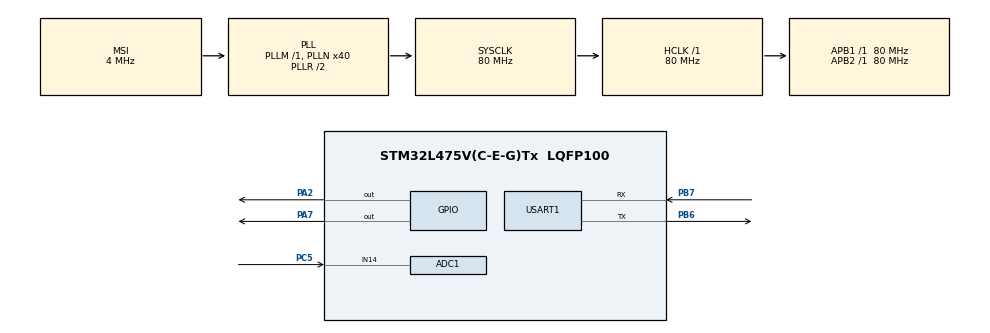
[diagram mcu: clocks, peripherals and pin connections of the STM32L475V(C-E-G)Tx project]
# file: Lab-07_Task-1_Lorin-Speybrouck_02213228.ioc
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ADC1.Channel-0\#ChannelRegularConversion=ADC_CHANNEL_14
ADC1.NbrOfConversionFlag=1
ADC1.OffsetNumber-0\#ChannelRegularConversion=ADC_OFFSET_NONE
ADC1.Rank-0\#ChannelRegularConversion=1
ADC1.SamplingTime-0\#ChannelRegularConversion=ADC_SAMPLETIME_2CYCLES_5
ADC1.master=1
Mcu.Family=STM32L4
Mcu.Name=STM32L475V(C-E-G)Tx
Mcu.Package=LQFP100
NVIC.LPTIM2_IRQn=true\:0\:0\:false\:false\:true\:true\:true\:true
NVIC.PriorityGroup=NVIC_PRIORITYGROUP_4
PA2.Signal=GPIO_Output
PA7.Signal=GPIO_Output
PB6.Mode=Asynchronous
PB6.Signal=USART1_TX
PB7.Mode=Asynchronous
PB7.Signal=USART1_RX
PC14-OSC32_IN\ (PC14).Mode=LSE-External-Oscillator
PC14-OSC32_IN\ (PC14).Signal=RCC_OSC32_IN
PC15-OSC32_OUT\ (PC15).Mode=LSE-External-Oscillator
PC15-OSC32_OUT\ (PC15).Signal=RCC_OSC32_OUT
PC5.Signal=ADCx_IN14
ProjectManager.HeapSize=0x200
ProjectManager.StackSize=0x400
ProjectManager.TargetToolchain=STM32CubeIDE
RCC.ADCFreq_Value=48000000
RCC.AHBFreq_Value=80000000
RCC.APB1Freq_Value=80000000
RCC.APB1TimFreq_Value=80000000
RCC.APB2Freq_Value=80000000
RCC.APB2TimFreq_Value=80000000
RCC.CortexFreq_Value=80000000
RCC.HCLKFreq_Value=80000000
RCC.HSE_VALUE=8000000
RCC.HSI_VALUE=16000000
RCC.LPTIM2CLockSelection=RCC_LPTIM2CLKSOURCE_LSE
RCC.MSI_VALUE=4000000
RCC.PLLN=40
RCC.PLLSAI1N=24
RCC.SYSCLKFreq_VALUE=80000000
RCC.SYSCLKSource=RCC_SYSCLKSOURCE_PLLCLK
RCC.USBFreq_Value=48000000
RCC.VCOOutputFreq_Value=160000000
SH.ADCx_IN14.0=ADC1_IN14,IN14-Single-Ended
USART1.VirtualMode-Asynchronous=VM_ASYNC
VP_LPTIM2_VS_LPTIM_counterModeInternalClock.Mode=Counts__internal_clock_event_00
board=B-L475E-IOT01A1

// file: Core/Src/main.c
/* USER CODE BEGIN Header */
/**
 ******************************************************************************
 * @file           : main.c
 * @brief          : Main program body
 ******************************************************************************
 * @attention
 *
 * Copyright (c) 2024 STMicroelectronics.
 * All rights reserved.
 *
 * This software is licensed under terms that can be found in the LICENSE file
 * in the root directory of this software component.
 * If no LICENSE file comes with this software, it is provided AS-IS.
 *
 ******************************************************************************
 */
/* USER CODE END Header */
#include "main.h"

/* USER CODE BEGIN Includes */
#include "stdio.h"
/* USER CODE END Includes */

ADC_HandleTypeDef hadc1;

LPTIM_HandleTypeDef hlptim2;

UART_HandleTypeDef huart1;

/* USER CODE BEGIN PV */
const uint8_t digitToSegment[] = {
	// XGFEDCBA
	 0b00111111,    // 0
	 0b00000110,    // 1
	 0b01011011,    // 2
	 0b01001111,    // 3
	 0b01100110,    // 4
	 0b01101101,    // 5
	 0b01111101,    // 6
	 0b00000111,    // 7
	 0b01111111,    // 8
	 0b01101111,    // 9
	 0b01110111,    // A
	 0b01111100,    // b
	 0b00111001,    // C
	 0b01011110,    // d
	 0b01111001,    // E
	 0b01110001     // F
};
/* USER CODE END PV */

void SystemClock_Config(void);
static void MX_GPIO_Init(void);
static void MX_ADC1_Init(void);
static void MX_USART1_UART_Init(void);
static void MX_LPTIM2_Init(void);

/* USER CODE BEGIN 0 */
void Display_CLK(uint8_t level) {
	HAL_GPIO_WritePin(GPIOA, GPIO_PIN_2, level);
	//HAL_Delay(1);
}

void Display_DIO(uint8_t level) {
	HAL_GPIO_WritePin(GPIOA, GPIO_PIN_7, level);
	//HAL_Delay(1);
}

void I2Cstart(void) {
	Display_DIO(1);
	Display_CLK(1); //I2C start condition
	Display_DIO(0); //high to low data while clk high
	Display_CLK(0);
}

void I2Cstop(void) {
	Display_DIO(0);
	Display_CLK(1); //I2C stop condition
	Display_DIO(1); //low to high data while clk high

}

void I2Cwritebyte(uint8_t databyte)  //LSB first for TM1637 chip!!!
{
	for (uint8_t n = 0;n <= 7;n++) {
		if ((databyte & 0x01) > 0)
			Display_DIO(1);
		else
			Display_DIO(0);
		Display_CLK(1);
		databyte >>= 1;
		Display_CLK(0);
	}
	Display_CLK(1); //9th clk  ACK ignored
	Display_CLK(0);
}

void I2Cwritesegment(uint8_t segmentnr, uint8_t hexdigit) {
	I2Cstart();
	I2Cwritebyte(0x40);  //command1 write data to display register
	I2Cstop();
	I2Cstart();
	I2Cwritebyte(0xc0 + (segmentnr & 0x03));  //command2  display address
	I2Cwritebyte(digitToSegment[hexdigit & 0x0F]);  //data1
	I2Cstop();

	I2Cstart();
	I2Cwritebyte(0x88);  //display control --> display on
	I2Cstop();
}

void I2CwriteDECnumber(unsigned int number) {
	for (int8_t digitnr = 3;digitnr >= 0;digitnr--) {
		I2Cwritesegment(digitnr, number % 10);
		number /= 10;
	}
}
/* USER CODE END 0 */

int main(void) {

	/* MCU Configuration--------------------------------------------------------*/

	/* Reset of all peripherals, Initializes the Flash interface and the Systick. */
	HAL_Init();

	/* Configure the system clock */
	SystemClock_Config();

	/* Initialize all configured peripherals */
	MX_GPIO_Init();
	MX_ADC1_Init();
	MX_USART1_UART_Init();
	MX_LPTIM2_Init();

	/* Infinite loop */
	/* USER CODE BEGIN WHILE */
	while (1) {
		HAL_ADC_Start(&hadc1);
		HAL_ADC_PollForConversion(&hadc1, HAL_MAX_DELAY);
		uint32_t value = HAL_ADC_GetValue(&hadc1);

		char text[20];
		sprintf(text, "%d\r\n", value);
		HAL_UART_Transmit(&huart1, text, strlen(text), 100);

		I2CwriteDECnumber(value);

		HAL_Delay(200);
		/* USER CODE END WHILE */

	}
}

void SystemClock_Config(void) {
	RCC_OscInitTypeDef RCC_OscInitStruct = { 0 };
	RCC_ClkInitTypeDef RCC_ClkInitStruct = { 0 };

	/** Configure the main internal regulator output voltage
	 */
	if (HAL_PWREx_ControlVoltageScaling(PWR_REGULATOR_VOLTAGE_SCALE1)
			!= HAL_OK) {
		Error_Handler();
	}

	/** Configure LSE Drive Capability
	 */
	HAL_PWR_EnableBkUpAccess();
	__HAL_RCC_LSEDRIVE_CONFIG(RCC_LSEDRIVE_LOW);

	/** Initializes the RCC Oscillators according to the specified parameters
	 * in the RCC_OscInitTypeDef structure.
	 */
	RCC_OscInitStruct.OscillatorType = RCC_OSCILLATORTYPE_LSE
			| RCC_OSCILLATORTYPE_MSI;
	RCC_OscInitStruct.LSEState = RCC_LSE_ON;
	RCC_OscInitStruct.MSIState = RCC_MSI_ON;
	RCC_OscInitStruct.MSICalibrationValue = 0;
	RCC_OscInitStruct.MSIClockRange = RCC_MSIRANGE_6;
	RCC_OscInitStruct.PLL.PLLState = RCC_PLL_ON;
	RCC_OscInitStruct.PLL.PLLSource = RCC_PLLSOURCE_MSI;
	RCC_OscInitStruct.PLL.PLLM = 1;
	RCC_OscInitStruct.PLL.PLLN = 40;
	RCC_OscInitStruct.PLL.PLLP = RCC_PLLP_DIV7;
	RCC_OscInitStruct.PLL.PLLQ = RCC_PLLQ_DIV2;
	RCC_OscInitStruct.PLL.PLLR = RCC_PLLR_DIV2;
	if (HAL_RCC_OscConfig(&RCC_OscInitStruct) != HAL_OK) {
		Error_Handler();
	}

	/** Initializes the CPU, AHB and APB buses clocks
	 */
	RCC_ClkInitStruct.ClockType = RCC_CLOCKTYPE_HCLK | RCC_CLOCKTYPE_SYSCLK
			| RCC_CLOCKTYPE_PCLK1 | RCC_CLOCKTYPE_PCLK2;
	RCC_ClkInitStruct.SYSCLKSource = RCC_SYSCLKSOURCE_PLLCLK;
	RCC_ClkInitStruct.AHBCLKDivider = RCC_SYSCLK_DIV1;
	RCC_ClkInitStruct.APB1CLKDivider = RCC_HCLK_DIV1;
	RCC_ClkInitStruct.APB2CLKDivider = RCC_HCLK_DIV1;

	if (HAL_RCC_ClockConfig(&RCC_ClkInitStruct, FLASH_LATENCY_4) != HAL_OK) {
		Error_Handler();
	}

	/** Enable MSI Auto calibration
	 */
	HAL_RCCEx_EnableMSIPLLMode();
}

static void MX_ADC1_Init(void) {

	ADC_MultiModeTypeDef multimode = { 0 };
	ADC_ChannelConfTypeDef sConfig = { 0 };

	/** Common config
	 */
	hadc1.Instance = ADC1;
	hadc1.Init.ClockPrescaler = ADC_CLOCK_ASYNC_DIV1;
	hadc1.Init.Resolution = ADC_RESOLUTION_12B;
	hadc1.Init.DataAlign = ADC_DATAALIGN_RIGHT;
	hadc1.Init.ScanConvMode = ADC_SCAN_DISABLE;
	hadc1.Init.EOCSelection = ADC_EOC_SINGLE_CONV;
	hadc1.Init.LowPowerAutoWait = DISABLE;
	hadc1.Init.ContinuousConvMode = DISABLE;
	hadc1.Init.NbrOfConversion = 1;
	hadc1.Init.DiscontinuousConvMode = DISABLE;
	hadc1.Init.ExternalTrigConv = ADC_SOFTWARE_START;
	hadc1.Init.ExternalTrigConvEdge = ADC_EXTERNALTRIGCONVEDGE_NONE;
	hadc1.Init.DMAContinuousRequests = DISABLE;
	hadc1.Init.Overrun = ADC_OVR_DATA_PRESERVED;
	hadc1.Init.OversamplingMode = DISABLE;
	if (HAL_ADC_Init(&hadc1) != HAL_OK) {
		Error_Handler();
	}

	/** Configure the ADC multi-mode
	 */
	multimode.Mode = ADC_MODE_INDEPENDENT;
	if (HAL_ADCEx_MultiModeConfigChannel(&hadc1, &multimode) != HAL_OK) {
		Error_Handler();
	}

	/** Configure Regular Channel
	 */
	sConfig.Channel = ADC_CHANNEL_14;
	sConfig.Rank = ADC_REGULAR_RANK_1;
	sConfig.SamplingTime = ADC_SAMPLETIME_2CYCLES_5;
	sConfig.SingleDiff = ADC_SINGLE_ENDED;
	sConfig.OffsetNumber = ADC_OFFSET_NONE;
	sConfig.Offset = 0;
	if (HAL_ADC_ConfigChannel(&hadc1, &sConfig) != HAL_OK) {
		Error_Handler();
	}

}

static void MX_LPTIM2_Init(void) {

	hlptim2.Instance = LPTIM2;
	hlptim2.Init.Clock.Source = LPTIM_CLOCKSOURCE_APBCLOCK_LPOSC;
	hlptim2.Init.Clock.Prescaler = LPTIM_PRESCALER_DIV1;
	hlptim2.Init.Trigger.Source = LPTIM_TRIGSOURCE_SOFTWARE;
	hlptim2.Init.OutputPolarity = LPTIM_OUTPUTPOLARITY_HIGH;
	hlptim2.Init.UpdateMode = LPTIM_UPDATE_IMMEDIATE;
	hlptim2.Init.CounterSource = LPTIM_COUNTERSOURCE_INTERNAL;
	hlptim2.Init.Input1Source = LPTIM_INPUT1SOURCE_GPIO;
	hlptim2.Init.Input2Source = LPTIM_INPUT2SOURCE_GPIO;
	if (HAL_LPTIM_Init(&hlptim2) != HAL_OK) {
		Error_Handler();
	}

}

static void MX_USART1_UART_Init(void) {

	huart1.Instance = USART1;
	huart1.Init.BaudRate = 115200;
	huart1.Init.WordLength = UART_WORDLENGTH_8B;
	huart1.Init.StopBits = UART_STOPBITS_1;
	huart1.Init.Parity = UART_PARITY_NONE;
	huart1.Init.Mode = UART_MODE_TX_RX;
	huart1.Init.HwFlowCtl = UART_HWCONTROL_NONE;
	huart1.Init.OverSampling = UART_OVERSAMPLING_16;
	huart1.Init.OneBitSampling = UART_ONE_BIT_SAMPLE_DISABLE;
	huart1.AdvancedInit.AdvFeatureInit = UART_ADVFEATURE_NO_INIT;
	if (HAL_UART_Init(&huart1) != HAL_OK) {
		Error_Handler();
	}

}

static void MX_GPIO_Init(void) {
	GPIO_InitTypeDef GPIO_InitStruct = { 0 };

	/* GPIO Ports Clock Enable */
	__HAL_RCC_GPIOC_CLK_ENABLE();
	__HAL_RCC_GPIOA_CLK_ENABLE();
	__HAL_RCC_GPIOB_CLK_ENABLE();

	/*Configure GPIO pin Output Level */
	HAL_GPIO_WritePin(GPIOA, GPIO_PIN_2 | GPIO_PIN_7, GPIO_PIN_RESET);

	/*Configure GPIO pins : PA2 PA7 */
	GPIO_InitStruct.Pin = GPIO_PIN_2 | GPIO_PIN_7;
	GPIO_InitStruct.Mode = GPIO_MODE_OUTPUT_PP;
	GPIO_InitStruct.Pull = GPIO_NOPULL;
	GPIO_InitStruct.Speed = GPIO_SPEED_FREQ_LOW;
	HAL_GPIO_Init(GPIOA, &GPIO_InitStruct);

}

void Error_Handler(void) {
	__disable_irq();
	while (1) {
	}
}
